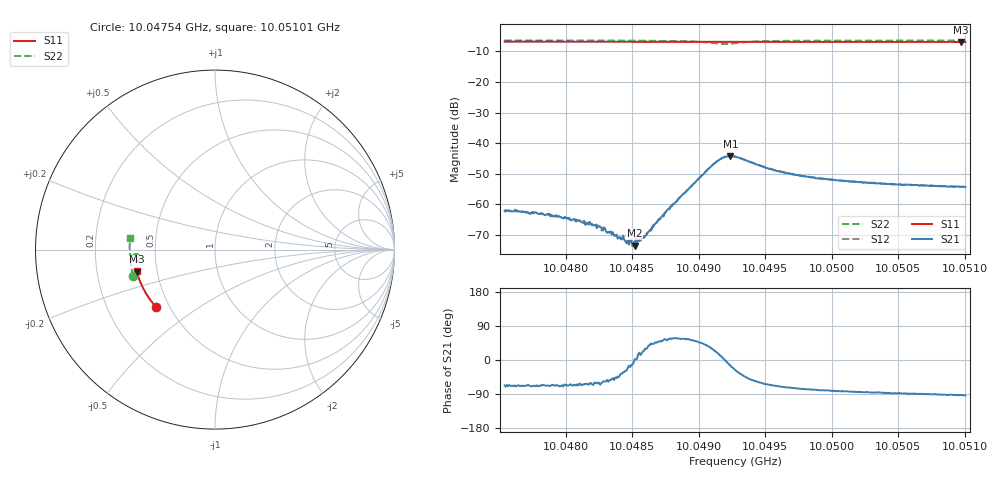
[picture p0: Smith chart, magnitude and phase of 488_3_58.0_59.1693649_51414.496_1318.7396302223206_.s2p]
#  HZ  S  RI  R  50.00
! Rohde & Schwarz Vector Network Analyzer
! Rohde-Schwarz,ZNB20-2Port,1311601062101988,3.16
! Created: UTC 3/21/2024, 1:12:10 AM
! freq[Hz]  re:S11  im:S11  re:S21  im:S21  re:S12  im:S12  re:S22  im:S22
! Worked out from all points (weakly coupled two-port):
!   401 points, 10.04754 GHz to 10.05101 GHz, reference 50 ohm
!   highest |S21| = -44.19 dB at 10.04924 GHz (marker M1); lowest = -73.4 dB at 10.04852 GHz (marker M2)
!   lowest |S11| = -6.9 dB at 10.05097 GHz (marker M3), VSWR 2.65, Z = 19.2 - j5.9 ohm
!   |S11| at or under -10 dB: nowhere
!   |S22| runs from -7.5 to -6.4 dB; largest |S21 - S12| = 0.00044
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1.0047541e10  -0.3294 -0.3186  0.000309 -0.000727  0.000326 -0.000751  -0.4555 -0.1475
1.0047784e10  -0.3399 -0.3065  0.000285 -0.000664  0.000318 -0.00066  -0.46 -0.1314
1.0048121e10  -0.354 -0.2892  0.000199 -0.000468  0.000247 -0.00048  -0.4651 -0.108
1.0048243e10  -0.3589 -0.2827  0.000204 -0.000387  0.000241 -0.00038  -0.4664 -0.0991
1.0048364e10  -0.3635 -0.2763  0.000186 -0.000246  0.000235 -0.000212  -0.4677 -0.0902
1.0048407e10  -0.3651 -0.274  0.000221 -0.000189  0.000222 -0.000187  -0.468 -0.0867
1.0048424e10  -0.3657 -0.2729  0.000222 -0.000162  0.000237 -0.000144  -0.4682 -0.0855
1.0048459e10  -0.3671 -0.2712  0.000206 -0.000108  0.00024 -0.000121  -0.4683 -0.0827
1.0048485e10  -0.3681 -0.2698  0.000253 -8.49e-05  0.000226 -6.57e-05  -0.4686 -0.0805
1.004852e10  -0.3694 -0.2679  0.000214 7.23e-06  0.000242 1.11e-05  -0.4686 -0.0779
1.004858e10  -0.3716 -0.2646  0.000261 0.000109  0.000254 9.28e-05  -0.4689 -0.0729
1.0048702e10  -0.3759 -0.2578  0.000373 0.00042  0.000345 0.000472  -0.4685 -0.0621
1.0048866e10  -0.3817 -0.2487  0.000763 0.00111  0.000664 0.00117  -0.465 -0.0454
1.0049109e10  -0.3895 -0.2348  0.00398 0.00209  0.00386 0.00236  -0.4337 -0.0247
1.0049178e10  -0.3915 -0.2308  0.00571 0.000685  0.00568 0.000991  -0.4193 -0.0366
1.0049239e10  -0.3933 -0.2276  0.00596 -0.0016  0.00611 -0.0012  -0.4203 -0.0544
1.0049273e10  -0.3944 -0.2258  0.00545 -0.00265  0.00562 -0.00231  -0.4269 -0.0617
1.0049585e10  -0.4042 -0.2077  0.0013 -0.0033  0.00149 -0.00327  -0.4685 -0.0423
1.0049854e10  -0.4117 -0.1916  0.000568 -0.0027  0.000722 -0.00272  -0.4744 -0.0178
1.0050434e10  -0.4252 -0.1561  8.82e-05 -0.00215  0.000229 -0.00214  -0.4755 0.0261
1.0050971e10  -0.4353 -0.1225  -7.89e-05 -0.00193  2.84e-05 -0.00195  -0.4719 0.063
1.0051005e10  -0.436 -0.1202  -0.00012 -0.00192  1.81e-05 -0.00194  -0.4716 0.0653
